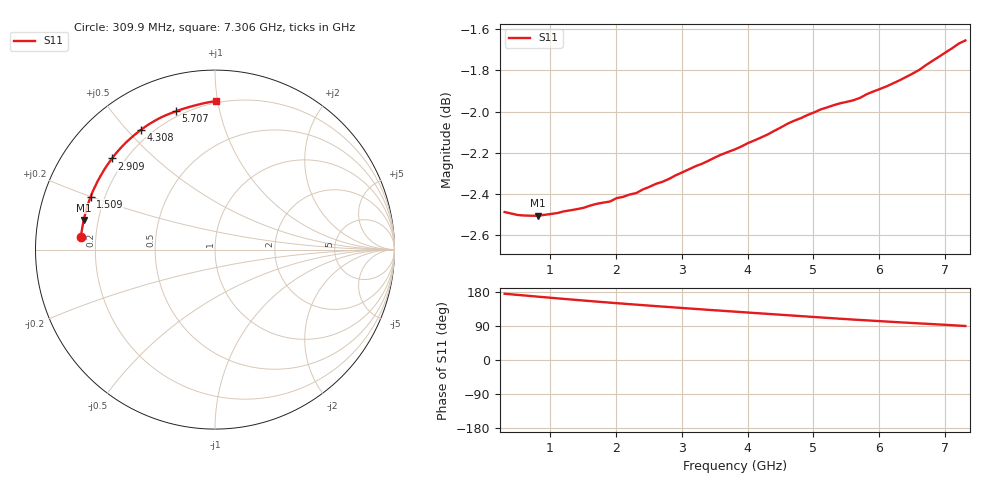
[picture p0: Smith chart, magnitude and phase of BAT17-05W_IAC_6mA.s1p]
! Infineon Technologies  Discrete & RF Semiconductors
! BAT17-05W
! IAC = 6 mA
! One-Port S-Parameters
# Hz  S  MA  R  50
!f  S11
!Hz  Mag  Ang
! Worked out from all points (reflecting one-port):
!   71 points, 309.9 MHz to 7.306 GHz, reference 50 ohm
!   lowest |S11| = -2.5 dB at 809.6 MHz (marker M1), VSWR 6.98, Z = 7.25 + j5.48 ohm
!   phase of S11 starts at 175 deg and turns -85 deg over the sweep
!   S11 on the Smith chart (normalised r, x): 309.9 MHz: 0.14, +0.04; 1.509 GHz: 0.15, +0.20; 2.909 GHz: 0.15, +0.37; 4.308 GHz: 0.16, +0.55; 5.707 GHz: 0.17, +0.74; 7.306 GHz: 0.19, +0.99
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3.0985e8  0.7509 174.8
6.097e8  0.7494 170.3
8.096e8  0.7493 167.2
1.2094e9  0.7512 161.3
1.50925e9  0.7527 156.9
1.8091e9  0.7549 152.7
2.009e9  0.7568 150.0
2.10895e9  0.7573 148.7
2.2089e9  0.7583 147.3
2.50875e9  0.7616 143.5
2.90855e9  0.7665 138.5
3.0085e9  0.7678 137.3
3.2084e9  0.7704 134.8
3.50825e9  0.7742 131.1
3.8081e9  0.7777 127.6
4.008e9  0.7805 125.2
4.30785e9  0.7843 121.7
4.50775e9  0.7874 119.4
4.70765e9  0.7903 117.0
4.90755e9  0.7928 114.6
5.2074e9  0.7962 111.1
5.4073e9  0.7981 108.9
5.6072e9  0.7994 106.7
5.70715e9  0.8004 105.7
6.007e9  0.8044 102.5
6.50675e9  0.8114 97.6
7.0065e9  0.8211 92.7
7.30635e9  0.8266 89.7
